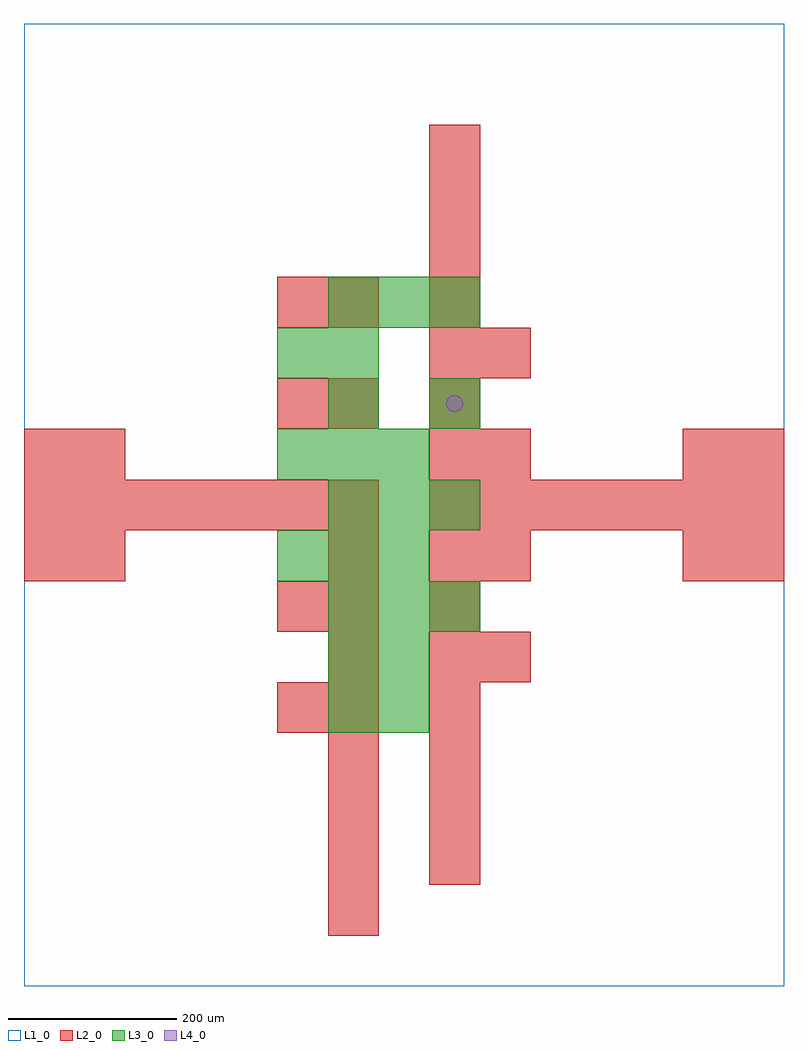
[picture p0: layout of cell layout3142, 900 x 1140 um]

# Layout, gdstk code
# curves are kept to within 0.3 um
import gdstk
lib = gdstk.Library(unit=1e-6, precision=1e-09)
def R(c, l, rs):  # rectangles x0, y0, x1, y1
    for r in rs: c.add(gdstk.rectangle(r[:2], r[2:], *l))
def A(c, l, x, y, w, h, nx, ny, dx, dy):  # array of equal rectangles
    R(c, l, [(x+i*dx, y+j*dy, x+i*dx+w, y+j*dy+h) for i in range(nx) for j in range(ny)])
def P(c, l, *ps):  # polygons
    for p in ps: c.add(gdstk.Polygon(p, *l))
L1_0 = (1, 0)
L2_0 = (2, 0)
L3_0 = (3, 0)
L4_0 = (4, 0)

layout3142 = lib.new_cell('layout3142')
R(layout3142, L1_0, [(0,0,900,1140)])
A(layout3142, L2_0, 360, 60, 60, 60, 1, 8, 0, 60)
A(layout3142, L2_0, 480, 120, 60, 60, 1, 7, 0, 60)
A(layout3142, L2_0, 540, 360, 60, 60, 1, 4, 0, 120)
A(layout3142, L2_0, 0, 540, 60, 60, 7, 1, 60, 0)
A(layout3142, L2_0, 480, 540, 60, 60, 7, 1, 60, 0)
A(layout3142, L2_0, 480, 600, 60, 60, 1, 7, 0, 60)
R(layout3142, L2_0, [(300,300,360,360), (300,420,360,480), (0,480,60,540), (60,480,120,540), (780,480,840,540), (840,480,900,540), (0,600,60,660), (60,600,120,660), (780,600,840,660), (840,600,900,660), (300,660,360,720), (360,660,420,720), (300,780,360,840), (360,780,420,840)])
A(layout3142, L3_0, 360, 420, 60, 60, 3, 2, 60, 120)
A(layout3142, L3_0, 300, 480, 60, 60, 3, 2, 60, 120)
A(layout3142, L3_0, 360, 780, 60, 60, 3, 1, 60, 0)
R(layout3142, L3_0, [(360,300,420,360), (420,300,480,360), (360,360,420,420), (420,360,480,420), (360,660,420,720), (480,660,540,720), (300,720,360,780), (360,720,420,780)])
P(layout3142, L4_0, [(520,690),(519.239,693.827),(517.071,697.071),(513.827,699.239),(510,700),(506.173,699.239),(502.929,697.071),(500.761,693.827),(500,690),(500.761,686.173),(502.929,682.929),(506.173,680.761),(510,680),(513.827,680.761),(517.071,682.929),(519.239,686.173)])

lib.write_gds('layout3142.gds')
